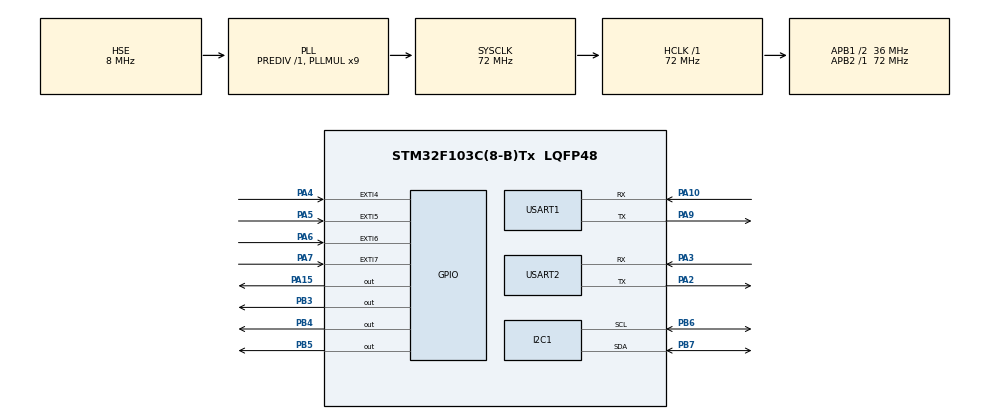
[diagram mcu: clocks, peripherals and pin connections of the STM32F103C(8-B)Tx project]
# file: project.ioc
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Mcu.Family=STM32F1
Mcu.Name=STM32F103C(8-B)Tx
Mcu.Package=LQFP48
NVIC.EXTI4_IRQn=true\:3\:0\:true\:false\:true\:true\:true\:true
NVIC.EXTI9_5_IRQn=true\:3\:0\:true\:false\:true\:true\:true\:true
NVIC.PriorityGroup=NVIC_PRIORITYGROUP_4
NVIC.TIM2_IRQn=true\:0\:0\:false\:false\:true\:true\:true\:true
NVIC.TIM3_IRQn=true\:0\:0\:false\:false\:true\:true\:true\:true
NVIC.TIM4_IRQn=true\:0\:0\:false\:false\:true\:true\:true\:true
NVIC.USART1_IRQn=true\:0\:0\:false\:false\:true\:true\:true\:true
NVIC.USART2_IRQn=true\:0\:0\:false\:false\:true\:true\:true\:true
PA10.Mode=Asynchronous
PA10.Signal=USART1_RX
PA13.Mode=Serial_Wire
PA13.Signal=SYS_JTMS-SWDIO
PA14.Mode=Serial_Wire
PA14.Signal=SYS_JTCK-SWCLK
PA15.PinState=GPIO_PIN_SET
PA15.Signal=GPIO_Output
PA2.Mode=Asynchronous
PA2.Signal=USART2_TX
PA3.Mode=Asynchronous
PA3.Signal=USART2_RX
PA4.GPIO_PuPd=GPIO_PULLUP
PA4.Signal=GPXTI4
PA5.GPIO_PuPd=GPIO_PULLUP
PA5.Signal=GPXTI5
PA6.GPIO_PuPd=GPIO_PULLUP
PA6.Signal=GPXTI6
PA7.GPIO_PuPd=GPIO_PULLUP
PA7.Signal=GPXTI7
PA9.Mode=Asynchronous
PA9.Signal=USART1_TX
PB3.PinState=GPIO_PIN_SET
PB3.Signal=GPIO_Output
PB4.PinState=GPIO_PIN_SET
PB4.Signal=GPIO_Output
PB5.PinState=GPIO_PIN_SET
PB5.Signal=GPIO_Output
PB6.Mode=I2C
PB6.Signal=I2C1_SCL
PB7.Mode=I2C
PB7.Signal=I2C1_SDA
PD0-OSC_IN.Mode=HSE-External-Oscillator
PD0-OSC_IN.Signal=RCC_OSC_IN
PD1-OSC_OUT.Mode=HSE-External-Oscillator
PD1-OSC_OUT.Signal=RCC_OSC_OUT
ProjectManager.HeapSize=0x200
ProjectManager.StackSize=0x400
ProjectManager.TargetToolchain=STM32CubeIDE
RCC.AHBFreq_Value=72000000
RCC.APB1CLKDivider=RCC_HCLK_DIV2
RCC.APB1Freq_Value=36000000
RCC.APB1TimFreq_Value=72000000
RCC.APB2Freq_Value=72000000
RCC.APB2TimFreq_Value=72000000
RCC.HCLKFreq_Value=72000000
RCC.PLLMUL=RCC_PLL_MUL9
RCC.PLLSourceVirtual=RCC_PLLSOURCE_HSE
RCC.SYSCLKFreq_VALUE=72000000
RCC.SYSCLKSource=RCC_SYSCLKSOURCE_PLLCLK
RCC.USBFreq_Value=72000000
TIM2.Period=2000
TIM2.Prescaler=36000
TIM3.Period=2
TIM3.Prescaler=1311
TIM4.Period=60
TIM4.Prescaler=60
USART1.VirtualMode=VM_ASYNC
USART2.VirtualMode=VM_ASYNC
VP_TIM2_VS_ClockSourceINT.Mode=Internal
VP_TIM3_VS_ClockSourceINT.Mode=Internal
VP_TIM4_VS_ClockSourceINT.Mode=Internal
board=custom

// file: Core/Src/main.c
/* USER CODE BEGIN Header */
/**
  ******************************************************************************
  * @file           : main.c
  * @brief          : Main program body
  ******************************************************************************
  * @attention
  *
  * Copyright (c) 2024 STMicroelectronics.
  * All rights reserved.
  *
  * This software is licensed under terms that can be found in the LICENSE file
  * in the root directory of this software component.
  * If no LICENSE file comes with this software, it is provided AS-IS.
  *
  ******************************************************************************
  */
/* USER CODE END Header */
#include "main.h"
#include "i2c.h"
#include "tim.h"
#include "usart.h"
#include "gpio.h"

/* USER CODE BEGIN Includes */
#include "stdint-gcc.h"
#include "oled.h"
#include "stdio.h"
#include <string.h>
#include <stdlib.h>
/* USER CODE END Includes */

/* USER CODE BEGIN PV */
int Counter_Flag_Light=0,Counter_Flag_Sound=0,Frequency_Light,
Frequency_Sound,Value_Light=10,Value_Sound=10,Counter_Flag_TIM4=0;
double Set_LightFrequency=40,Set_SoundFrequency=40;
int Signal_Set_Light=0,Signal_Set_Sound=0;
int Time_Left=3600,State=0,Menu_State=0;
uint_fast32_t Last_Tick=0;
int Func=18260;
char UART_str[80]="\0";
/* USER CODE END PV */

void SystemClock_Config(void);
/* USER CODE BEGIN PFP */
void Bluetooth_Init();
/* USER CODE END PFP */

int main(void)
{

  /* MCU Configuration--------------------------------------------------------*/

  /* Reset of all peripherals, Initializes the Flash interface and the Systick. */
  HAL_Init();

  /* USER CODE BEGIN Init */
  Frequency_Light=(int)(Func/Set_LightFrequency);
  Frequency_Sound=(int)(Func/Set_SoundFrequency);
  /* USER CODE END Init */

  /* Configure the system clock */
  SystemClock_Config();

  /* Initialize all configured peripherals */
  MX_GPIO_Init();
  MX_I2C1_Init();
  MX_TIM3_Init();
  MX_TIM4_Init();
  MX_USART1_UART_Init();
  MX_USART2_UART_Init();
  MX_TIM2_Init();
  /* USER CODE BEGIN 2 */
  OLED_Init();
  OLED_DisPlay_On();
  //Bluetooth_Init();
  HAL_TIM_Base_Start_IT(&htim2);
  HAL_TIM_Base_Start_IT(&htim3);
  HAL_TIM_Base_Start_IT(&htim4);
  /* USER CODE END 2 */

  /* Infinite loop */
  /* USER CODE BEGIN WHILE */
  while (1)
  {
    if (HAL_UART_GetState(&huart1)==HAL_UART_STATE_READY)
    {
      HAL_UART_Receive_IT(&huart1,UART_str,30);
    }
    Display();
    /* USER CODE END WHILE */

  }
}

void SystemClock_Config(void)
{
  RCC_OscInitTypeDef RCC_OscInitStruct = {0};
  RCC_ClkInitTypeDef RCC_ClkInitStruct = {0};

  /** Initializes the RCC Oscillators according to the specified parameters
  * in the RCC_OscInitTypeDef structure.
  */
  RCC_OscInitStruct.OscillatorType = RCC_OSCILLATORTYPE_HSE;
  RCC_OscInitStruct.HSEState = RCC_HSE_ON;
  RCC_OscInitStruct.HSEPredivValue = RCC_HSE_PREDIV_DIV1;
  RCC_OscInitStruct.HSIState = RCC_HSI_ON;
  RCC_OscInitStruct.PLL.PLLState = RCC_PLL_ON;
  RCC_OscInitStruct.PLL.PLLSource = RCC_PLLSOURCE_HSE;
  RCC_OscInitStruct.PLL.PLLMUL = RCC_PLL_MUL9;
  if (HAL_RCC_OscConfig(&RCC_OscInitStruct) != HAL_OK)
  {
    Error_Handler();
  }

  /** Initializes the CPU, AHB and APB buses clocks
  */
  RCC_ClkInitStruct.ClockType = RCC_CLOCKTYPE_HCLK|RCC_CLOCKTYPE_SYSCLK
                              |RCC_CLOCKTYPE_PCLK1|RCC_CLOCKTYPE_PCLK2;
  RCC_ClkInitStruct.SYSCLKSource = RCC_SYSCLKSOURCE_PLLCLK;
  RCC_ClkInitStruct.AHBCLKDivider = RCC_SYSCLK_DIV1;
  RCC_ClkInitStruct.APB1CLKDivider = RCC_HCLK_DIV2;
  RCC_ClkInitStruct.APB2CLKDivider = RCC_HCLK_DIV1;

  if (HAL_RCC_ClockConfig(&RCC_ClkInitStruct, FLASH_LATENCY_2) != HAL_OK)
  {
    Error_Handler();
  }
}

/* USER CODE BEGIN 4 */
void BTDecode(){
  char *tmp=strstr(UART_str,"Display");
  if (tmp!=NULL)
  {
    char str[180],at_str[30];
    memset(str,0,sizeof(str));
    memset(at_str,0,sizeof(at_str));
    sprintf(at_str,"AT+BTSPPSEND=0,%d\r\n",sizeof(str));
    HAL_UART_Transmit(&huart1,at_str,sizeof(at_str),50);
    sprintf(str,"LightFrequency:%lf\r\nSoundFrequency:%lf\r\nLightValue:%d\r\nSoundValue:%d\r\nTimeLeft:%d\r\n",Set_LightFrequency,Set_SoundFrequency,Value_Light,Value_Sound,Time_Left);
    uint16_t t=3127*200;
    while(t--);
    HAL_UART_Transmit(&huart1,str,sizeof(str),50);
    HAL_UART_Transmit(&huart1,"+++",sizeof("+++"),50);
    return;
  }
  tmp=strstr(UART_str,"LightFrequency");
  if (tmp!=NULL)
  {
    Set_LightFrequency=atof(tmp+14*sizeof(char));
    Frequency_Light=(int)(Func/Set_LightFrequency);
    HAL_UART_Transmit(&huart2,"LightFrequencySet",sizeof("LightFrequencySet"),50);
    return;
  }
  tmp=strstr(UART_str,"SoundFrequency");
  if (tmp!=NULL)
  {
    Set_SoundFrequency=atof(tmp+14*sizeof(char));
    Frequency_Sound=(int)(Func/Set_SoundFrequency);
    HAL_UART_Transmit(&huart2,"SoundFrequencySet",sizeof("SoundFrequencySet"),50);
    return;
  }
  tmp=strstr(UART_str,"LightValue");
  if (tmp!=NULL)
  {
    Value_Light=atoi(tmp+10*sizeof(char));
    HAL_UART_Transmit(&huart2,"LightValueSet",sizeof("LightValueSet"),50);
    return;
  }
  tmp=strstr(UART_str,"SoundValue");
  if (tmp!=NULL)
  {
    Value_Sound=atoi(tmp+10*sizeof(char));
    HAL_UART_Transmit(&huart2,"SoundValueSet",sizeof("SoundValueSet"),50);
    return;
  }
  tmp=strstr(UART_str,"WorkTime");
  if (tmp!=NULL)
  {
    int tmp_v=(*(tmp+8)-'0')*10000+(*(tmp+9)-'0')*1000+(*(tmp+10)-'0')*100+(*(tmp+11)-'0')*10+(*(tmp+12)-'0');
    Time_Left=tmp_v;
    HAL_UART_Transmit(&huart2,"TimeLeftSet",sizeof("TimeLeftSet"),50);
    return;
  }
}
void Decode(){
  char *tmp=strstr(UART_str,"BTDATA");
  if (tmp!=NULL)
  {
    BTDecode();
  }

}
void HAL_UART_RxCpltCallback(UART_HandleTypeDef *huart){
  if (huart==&huart1)
  {
    Decode();
  }
  memset(UART_str,0,sizeof(UART_str));
  //HAL_UART_Receive_IT(&huart1,UART_str,30);
}
void Bluetooth_Init(){
  HAL_Delay(10000);
  HAL_UART_Transmit(&huart1,"ATE0\r\n",sizeof("ATE0\r\n"),50);
  HAL_Delay(2000);
  HAL_UART_Transmit(&huart1,"AT+BTINIT=1\r\n",sizeof("AT+BTINIT=1\r\n"),50);
  HAL_UART_Receive(&huart1,UART_str,80,2000);
  if (strcmp(UART_str,"\r\nOK\r\n")!=0)
  {
    HAL_UART_Transmit(&huart2,"BT_Init_Error\r\n",sizeof("BT_Init_Error\r\n"),50);
    return;
  }
  HAL_UART_Transmit(&huart1,"AT+BTNAME=\"SteinGate-AT\"\r\n",sizeof("AT+BTNAME=\"SteinGate-AT\"\r\n"),50);
  memset(UART_str,0,sizeof(UART_str));
  HAL_UART_Receive(&huart1,UART_str,80,2000);
  if (strcmp(UART_str,"\r\nOK\r\n")!=0)
  {
    HAL_UART_Transmit(&huart2,"BT_NameSet_Error\r\n",sizeof("BT_NameSet_Error\r\n"),50);
    return;
  }
  HAL_UART_Transmit(&huart1,"AT+BTSCANMODE=2\r\n",sizeof("AT+BTSCANMODE=2\r\n"),50);
  memset(UART_str,0,sizeof(UART_str));
  HAL_UART_Receive(&huart1,UART_str,80,2000);
  if (strcmp(UART_str,"\r\nOK\r\n")!=0)
  {
    HAL_UART_Transmit(&huart2,"BT_ScanModeSet_Error\r\n",sizeof("BT_ScanModeSet_Error\r\n"),50);
    return;
  }
  HAL_UART_Transmit(&huart1,"AT+BTSPPINIT=2\r\n",sizeof("AT+BTSPPINIT=2\r\n"),50);
  memset(UART_str,0,sizeof(UART_str));
  HAL_UART_Receive(&huart1,UART_str,80,2000);
  if (strcmp(UART_str,"\r\nOK\r\n")!=0)
  {
    HAL_UART_Transmit(&huart2,"BT_PPSInit_Error\r\n",sizeof("BT_PPSInit_Error\r\n"),50);
    return;
  }
  HAL_UART_Transmit(&huart1,"AT+BTSPPSTART\r\n",sizeof("AT+BTSPPSTART\r\n"),50);
  memset(UART_str,0,sizeof(UART_str));
  HAL_UART_Receive(&huart1,UART_str,80,2000);
  if (strcmp(UART_str,"\r\nOK\r\n")!=0)
  {
    HAL_UART_Transmit(&huart2,"BT_PPSStart_Error\r\n",sizeof("BT_PPSStart_Error\r\n"),50);
    return;
  }
  HAL_UART_Transmit(&huart1,"BT_WaitForConnect\r\n",sizeof("BT_WaitForConnect\r\n"),50);
  if (strcmp(UART_str,"+BTSPPCONN:0,\"38:c6:bd:9e:44:7c\"\r\n")!=0)
  {
    HAL_UART_Transmit(&huart1,"BT_Connect_Error\r\n",sizeof("BT_Connect_Error\r\n"),50);
    return;
  } else
  {
    HAL_UART_Transmit(&huart1,"BT_Connected\r\n",sizeof("BT_Connected\r\n"),50);
  }
}
void Display(){
  OLED_NewFrame();
  if (!Menu_State)
  {
    char str[80];
    sprintf(str,"光频:%f",Set_LightFrequency);
    OLED_PrintString(0,0,str,&font12x12,OLED_COLOR_NORMAL);
    sprintf(str,"声频:%f",Set_SoundFrequency);
    OLED_PrintString(0,12,str,&font12x12,OLED_COLOR_NORMAL);
    sprintf(str,"光强:%d",Value_Light);
    OLED_PrintString(0,24,str,&font12x12,OLED_COLOR_NORMAL);
    sprintf(str,"音量:%d",Value_Sound);
    OLED_PrintString(0,36,str,&font12x12,OLED_COLOR_NORMAL);
    sprintf(str,"剩余工作时间:%d",Time_Left);
    OLED_PrintString(0,48,str,&font12x12,OLED_COLOR_NORMAL);
  } else
  {
    OLED_PrintString(0,0,"设置模式",&font12x12,OLED_COLOR_NORMAL);
    char str[80];
    switch (State)
    {
      case 0:
        sprintf(str,"光频:%lf",Set_LightFrequency);
        OLED_PrintString(0,12,str,&font12x12,OLED_COLOR_NORMAL);
        break;
      case 1:
        sprintf(str,"声频:%lf",Set_SoundFrequency);
        OLED_PrintString(0,12,str,&font12x12,OLED_COLOR_NORMAL);
        //OLED_PrintString(0,12,,&font12x12,OLED_COLOR_NORMAL);
        break;
      case 2:
        sprintf(str,"光强:%d",Value_Light);
        OLED_PrintString(0,12,str,&font12x12,OLED_COLOR_NORMAL);
        //OLED_PrintString(0,12,,&font12x12,OLED_COLOR_NORMAL);
        break;
      case 3:
        sprintf(str,"音量:%d",Value_Sound);
        OLED_PrintString(0,12,str,&font12x12,OLED_COLOR_NORMAL);
       // OLED_PrintString(0,12,"音量:%d",Value_Sound,&font12x12,OLED_COLOR_NORMAL);
        break;
      case 4:
        sprintf(str,"剩余工作时间:%d",Time_Left);
        OLED_PrintString(0,12,str,&font12x12,OLED_COLOR_NORMAL);
        //OLED_PrintString(0,12,"剩余工作时间:%d",Time_Left,&font12x12,OLED_COLOR_NORMAL);
        break;
      default:
        break;
    }
  }
  OLED_ShowFrame();
}
void HAL_TIM_PeriodElapsedCallback(TIM_HandleTypeDef *htim){
  if (htim->Instance==TIM2)
  {
    Time_Left--;
    if (!Time_Left)
    {
      HAL_GPIO_WritePin(GPIOB,GPIO_PIN_4,GPIO_PIN_RESET);
      HAL_GPIO_WritePin(GPIOB,GPIO_PIN_5,GPIO_PIN_RESET);
      HAL_PWR_EnterSTANDBYMode();
    }
  }
  if (htim->Instance==TIM3)//htim3的周期：7.28*1e-5s
  {
    Counter_Flag_Light++;
    Counter_Flag_Sound++;
    if (Counter_Flag_Light>(int)(0.2*Frequency_Light))
    {
      Signal_Set_Light=0;
    } else
    {
      Signal_Set_Light=1;
    }
    if (Counter_Flag_Sound>(int)(0.5*Frequency_Sound))
    {
      Signal_Set_Sound=0;
    } else
    {
      Signal_Set_Sound=1;
    }
    if (Counter_Flag_Light==Frequency_Light)
    {
      Counter_Flag_Light=0;
    }
    if (Counter_Flag_Sound==Frequency_Sound)
    {
      Counter_Flag_Sound=0;
    }
  }
  if (htim->Instance==TIM4)
  {
    Counter_Flag_TIM4++;
    if (Counter_Flag_TIM4>Value_Light)
    {
      HAL_GPIO_WritePin(GPIOB,GPIO_PIN_4,GPIO_PIN_RESET);
    } else
    {
      HAL_GPIO_WritePin(GPIOB,GPIO_PIN_4,Signal_Set_Light);
    }
    if (Counter_Flag_TIM4>Value_Sound)
    {
      HAL_GPIO_WritePin(GPIOB,GPIO_PIN_5,GPIO_PIN_RESET);
    } else
    {
      HAL_GPIO_WritePin(GPIOB,GPIO_PIN_5,Signal_Set_Light);
    }
    if (Counter_Flag_TIM4==10)
    {
      Counter_Flag_TIM4=0;
    }
  }
}
void HAL_GPIO_EXTI_Callback(uint16_t GPIO_Pin){
  uint_fast32_t Now_Tick=HAL_GetTick();
  if(Now_Tick-Last_Tick<10){
    Last_Tick=Now_Tick;
    return;
  }
  Last_Tick=Now_Tick;
  if (GPIO_Pin==GPIO_PIN_4&&Menu_State)
  {
    switch (State)
    {
      case 0:
        Set_LightFrequency+=0.1;
        Set_LightFrequency=Set_LightFrequency>40?40:Set_LightFrequency;
        break;
      case 1:
        Set_SoundFrequency+=0.1;
        Set_SoundFrequency=Set_SoundFrequency>40?40:Set_SoundFrequency;
        break;
      case 2:
        Value_Light++;
        Value_Light=Value_Light>10?10:Value_Light;
        break;
      case 3:
        Value_Sound++;
        Value_Sound=Value_Sound>10?10:Value_Sound;
        break;
      case 4:
        Time_Left++;
        break;
      default:
        break;
    }
  }
  if (GPIO_Pin==GPIO_PIN_5&&Menu_State)
  {
    switch (State)
    {
      case 0:
        Set_LightFrequency-=0.1;
        Set_LightFrequency=Set_LightFrequency<37?37:Set_LightFrequency;
        break;
      case 1:
        Set_SoundFrequency-=0.1;
        Set_SoundFrequency=Set_SoundFrequency<37?37:Set_SoundFrequency;
        break;
      case 2:
        Value_Light--;
        Value_Light=Value_Light<0?0:Value_Light;
        break;
      case 3:
        Value_Sound--;
        Value_Sound=Value_Sound<0?0:Value_Sound;
        break;
      case 4:
        Time_Left--;
        break;
      default:
        break;
    }
  }
  if (GPIO_Pin==GPIO_PIN_6&&Menu_State)
  {
    if (State+1==5)
    {
      State=0;
    } else
    {
      State++;
    }
  }
  if (GPIO_Pin==GPIO_PIN_7)
  {
    Menu_State=!Menu_State;
  }
  Frequency_Light=(int)(Func/Set_LightFrequency);
  Frequency_Sound=(int)(Func/Set_SoundFrequency);
}
/* USER CODE END 4 */

void Error_Handler(void)
{
  __disable_irq();
  while (1)
  {
  }
}
